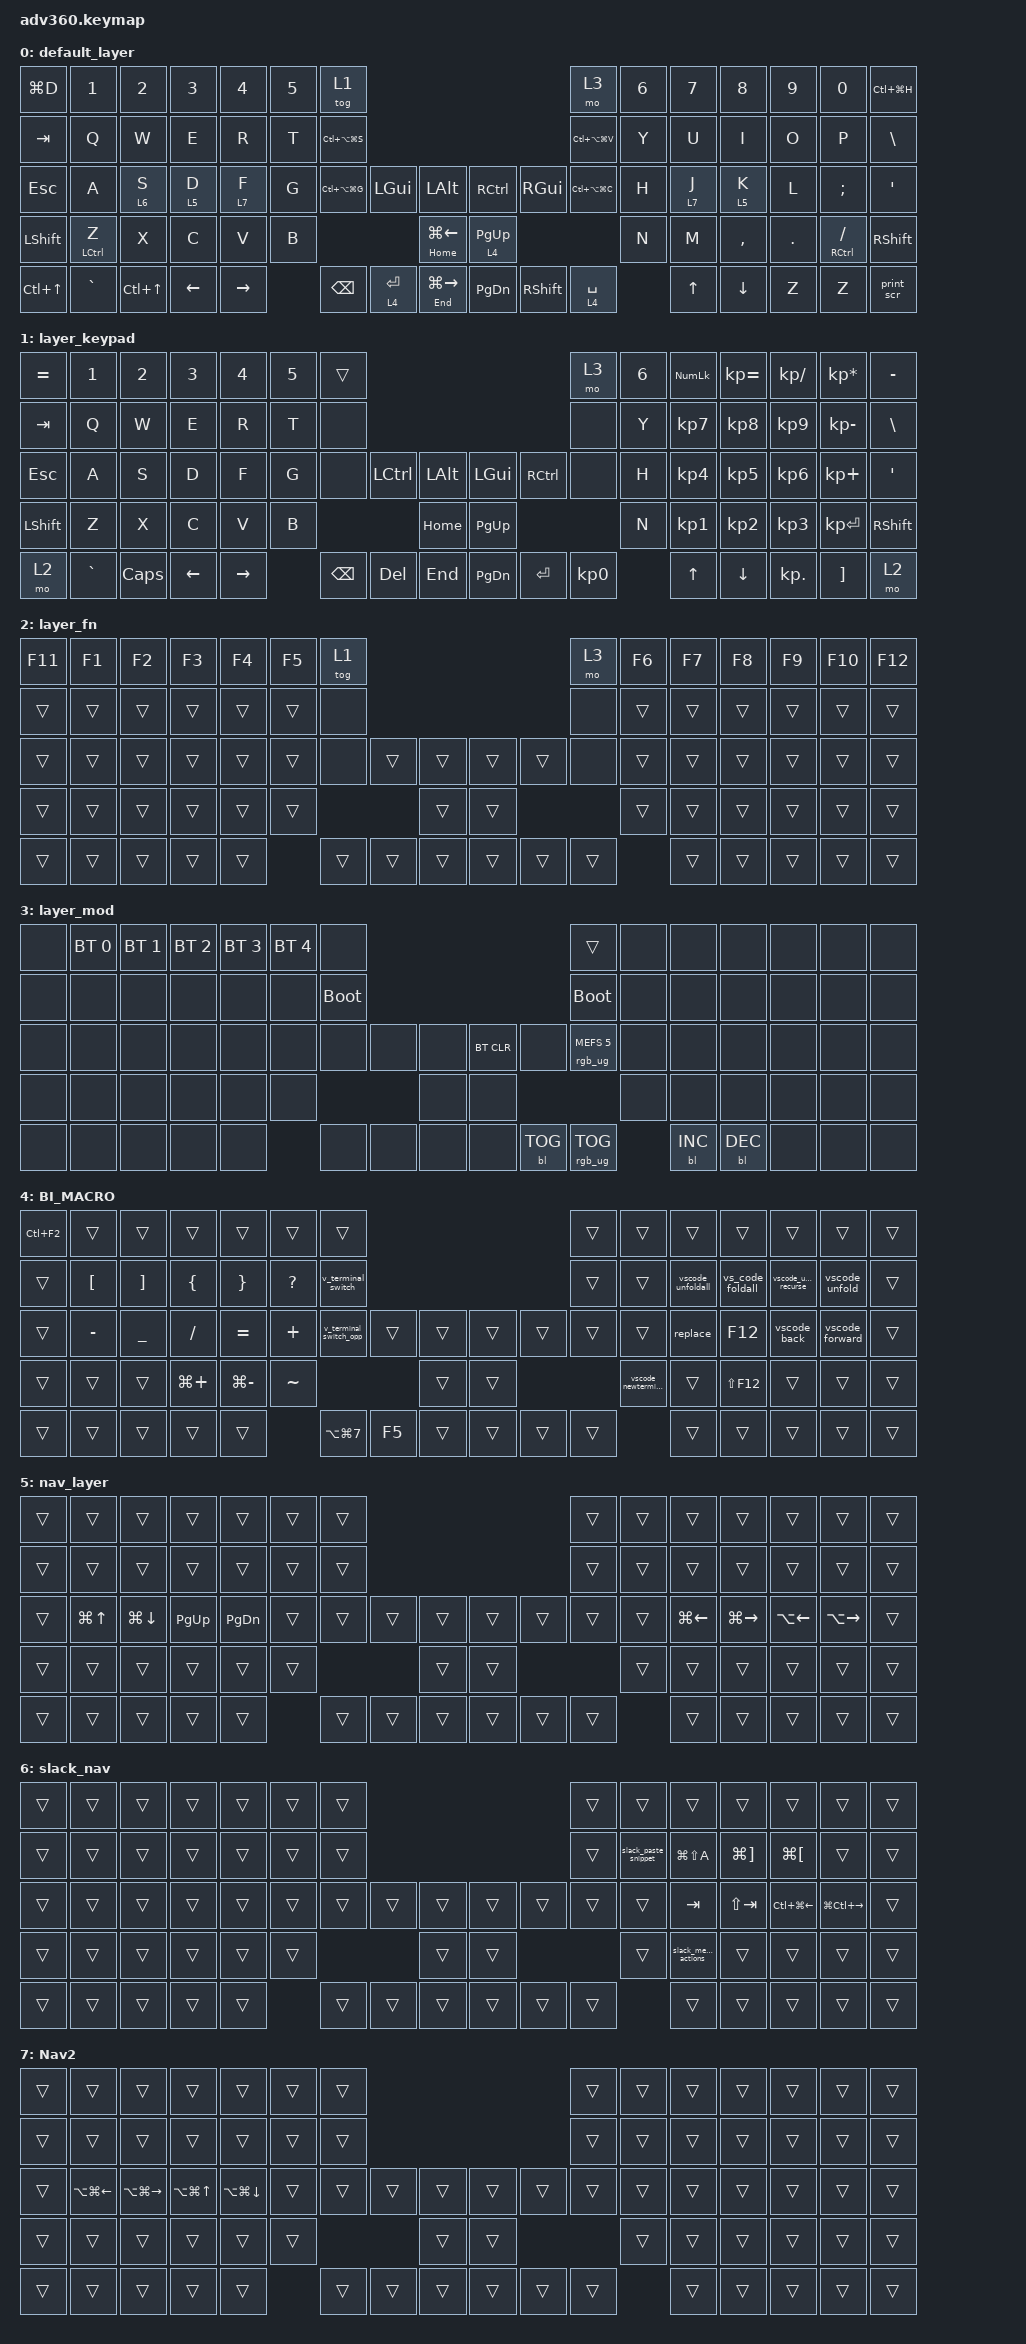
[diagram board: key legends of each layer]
/*
 * Copyright (c) 2020 The ZMK Contributors
 *
 * SPDX-License-Identifier: MIT
 */
/* THIS FILE WAS GENERATED!
 *
 * This file was generated automatically. You may or may not want to
 * edit it directly.
 */

#include <behaviors.dtsi>
#include <dt-bindings/zmk/backlight.h>
#include <dt-bindings/zmk/bt.h>
#include <dt-bindings/zmk/keys.h>
#include <dt-bindings/zmk/rgb.h>

/* BI: Added */

&lt {
    quick-tap-ms = <200>;
    require-prior-idle-ms = <150>;
};

/ {
    behaviors {
        #include "macros.dtsi"
    #include "version.dtsi"

        hm: homerow_mods {
            compatible = "zmk,behavior-hold-tap";
            label = "HOMEROW_MODS";
            #binding-cells = <2>;
            tapping-term-ms = <200>;
            flavor = "tap-preferred";
            bindings = <&kp>, <&kp>;

            require-prior-idle-ms = <150>;
        };
    };

    macros {
        vscode_newterminal: vscode_newterminal {
            compatible = "zmk,behavior-macro";
            #binding-cells = <0>;
            bindings =
                <&macro_press>,
                <&kp LEFT_CONTROL &kp LEFT_SHIFT>,
                <&macro_tap>,
                <&kp GRAVE>,
                <&macro_release>,
                <&kp LEFT_SHIFT &kp LCTRL>;

            label = "VSCODE_NEWTERMINAL";
        };

        slack_paste_snippet: slack_paste_snippet {
            compatible = "zmk,behavior-macro";
            #binding-cells = <0>;
            bindings = <&macro_tap>, <&kp LG(LS(ENTER))>;

            label = "SLACK_PASTE_SNIPPET";
        };

        google_doc_heading: google_doc_heading {
            compatible = "zmk,behavior-macro";
            #binding-cells = <0>;
            bindings =
                <&macro_press>,
                <&kp LGUI &kp LALT>,
                <&macro_tap>,
                <&kp NUMBER_2>,
                <&macro_release>,
                <&kp LCMD &kp LALT>;

            label = "GOOGLE_DOC_HEADING";
        };

        vs_code_foldall: vs_code_foldall {
            compatible = "zmk,behavior-macro";
            #binding-cells = <0>;
            bindings = <&macro_tap>, <&kp LG(K) &kp LG(N0)>;

            label = "VS_CODE_FOLDALL";
        };

        vscode_unfold: vscode_unfold {
            compatible = "zmk,behavior-macro";
            #binding-cells = <0>;
            bindings =
                <&macro_press>,
                <&kp LEFT_ALT &kp LGUI>,
                <&macro_tap>,
                <&kp RIGHT_BRACKET>,
                <&macro_release>,
                <&kp LEFT_ALT &kp LGUI>;

            label = "VSCODE_UNFOLD";
        };

        vscode_last_edit: vscode_last_edit {
            compatible = "zmk,behavior-macro";
            #binding-cells = <0>;
            bindings = <&macro_tap>, <&kp LG(K) &kp LG(Q)>;

            label = "VSCODE_LAST_EDIT";
        };

        vscode_unfold_recurse: vscode_unfold_recurse {
            compatible = "zmk,behavior-macro";
            #binding-cells = <0>;
            bindings = <&macro_tap>, <&kp LG(K) &kp LG(RIGHT_BRACKET)>;

            label = "VSCODE_UNFOLD_RECURSE";
        };

        vscode_unfoldall: vscode_unfoldall {
            compatible = "zmk,behavior-macro";
            #binding-cells = <0>;
            bindings = <&macro_tap>, <&kp LG(K) &kp LG(J)>;

            label = "VSCODE_UNFOLDALL";
        };

        print_scr: print_scr {
            compatible = "zmk,behavior-macro";
            #binding-cells = <0>;
            bindings =
                <&macro_press>,
                <&kp LSHFT &kp LGUI>,
                <&macro_tap>,
                <&kp NUMBER_4>,
                <&macro_release>,
                <&kp LSHIFT &kp LGUI>;

            label = "PRINT_SCR";
        };

        refactor: refactor {
            compatible = "zmk,behavior-macro";
            #binding-cells = <0>;
            bindings =
                <&macro_press>,
                <&kp LC(LEFT_SHIFT)>,
                <&macro_tap>,
                <&kp R>,
                <&macro_release>,
                <&kp LC(LSHFT)>;

            label = "REFACTOR";
        };

        replace: replace {
            compatible = "zmk,behavior-macro";
            #binding-cells = <0>;
            bindings =
                <&macro_press>,
                <&kp LG(LEFT_ALT)>,
                <&macro_tap>,
                <&kp F>,
                <&macro_release>,
                <&kp LG(LEFT_ALT)>;

            label = "REPLACE";
        };

        restart: restart {
            compatible = "zmk,behavior-macro";
            #binding-cells = <0>;
            bindings =
                <&macro_press>,
                <&kp RS(LEFT_COMMAND)>,
                <&macro_tap>,
                <&kp F5>,
                <&macro_release>,
                <&kp RS(LEFT_GUI)>;

            label = "RESTART";
        };

        vscode_zoom: vscode_zoom {
            compatible = "zmk,behavior-macro";
            #binding-cells = <0>;
            bindings = <&macro_tap>, <&kp LG(KP_EQUAL)>;

            label = "VSCODE_ZOOM";
        };

        vscode_zoom_out: vscode_zoom_out {
            compatible = "zmk,behavior-macro";
            #binding-cells = <0>;
            bindings = <&macro_tap>, <&kp LG(KP_MINUS)>;

            label = "VSCODE_ZOOM_OUT";
        };

        v_terminal_switch: v_terminal_switch {
            compatible = "zmk,behavior-macro";
            #binding-cells = <0>;
            bindings = <&macro_tap>, <&kp LS(LG(LEFT_BRACKET))>;

            label = "V_TERMINAL_SWITCH";
        };

        v_terminal_switch_opp: v_terminal_switch_opp {
            compatible = "zmk,behavior-macro";
            #binding-cells = <0>;
            bindings = <&macro_tap>, <&kp LS(LG(RIGHT_BRACKET))>;

            label = "V_TERMINAL_SWITCH_OPP";
        };

        vscode_back: vscode_back {
            compatible = "zmk,behavior-macro";
            #binding-cells = <0>;
            bindings = <&macro_tap>, <&kp LC(MINUS)>;

            label = "VSCODE_BACK";
        };

        vscode_forward: vscode_forward {
            compatible = "zmk,behavior-macro";
            #binding-cells = <0>;
            bindings = <&macro_tap>, <&kp LC(LS(MINUS))>;

            label = "VSCODE_FORWARD";
        };

        vscode_debug_test: vscode_debug_test {
            compatible = "zmk,behavior-macro";
            #binding-cells = <0>;
            bindings = <&macro_tap>, <&kp LG(SEMICOLON) &kp LG(C)>;

            label = "VSCODE_DEBUG_TEST";
        };

        zoomunmute: zoomunmute {
            compatible = "zmk,behavior-macro";
            #binding-cells = <0>;
            bindings = <&macro_tap>, <&kp LS(LG(A))>;

            label = "ZOOMUNMUTE";
        };

        slack_message_actions: slack_message_actions {
            compatible = "zmk,behavior-macro";
            #binding-cells = <0>;
            bindings = <&macro_tap>, <&kp TAB &kp TAB>;

            label = "SLACK_MESSAGE_ACTIONS";
        };
    };

    combos { compatible = "zmk,combos"; };

    keymap {
        compatible = "zmk,keymap";

        default_layer {
            bindings = <
&kp LG(D)         &kp N1       &kp N2            &kp N3    &kp N4     &kp N5  &tog 1                                                                                &mo 3              &kp N6  &kp N7   &kp N8     &kp N9   &kp N0          &kp LC(LG(H))
&kp TAB           &kp Q        &kp W             &kp E     &kp R      &kp T   &kp LC(LA(LG(S)))                                                                      &kp LC(LA(LG(V)))  &kp Y   &kp U    &kp I      &kp O    &kp P           &kp BSLH
&kp ESC           &kp A        &lt 6 S           &lt 5 D   &lt 7 F    &kp G   &kp LC(LA(LG(G)))             &kp LGUI     &kp LALT               &kp RCTRL      &kp RGUI         &kp LC(LA(LG(C)))              &kp H   &lt 7 J  &lt 5 K    &kp L    &kp SEMI        &kp SQT
&kp LSHFT         &hm LCTRL Z  &kp X             &kp C     &kp V      &kp B                                  &mt HOME LG(LEFT)      &lt 4 PAGE_UP                                      &kp N   &kp M    &kp COMMA  &kp DOT  &hm RCTRL FSLH  &kp RIGHT_SHIFT
&kp LC(UP_ARROW)  &kp GRAVE    &kp LC(UP_ARROW)  &kp LEFT  &kp RIGHT          &kp BSPC          &lt 4 ENTER  &mt END LG(RIGHT)      &kp PG_DN      &kp RIGHT_SHIFT  &lt 4 SPACE                &kp UP   &kp DOWN   &kp Z    &kp Z           &print_scr
            >;
        };

        layer_keypad {
            bindings = <
&kp EQUAL  &kp N1     &kp N2    &kp N3    &kp N4     &kp N5  &trans                                                   &mo 3      &kp N6  &kp KP_NUM  &kp KP_EQUAL  &kp KP_DIVIDE  &kp KP_MULTIPLY  &kp MINUS
&kp TAB    &kp Q      &kp W     &kp E     &kp R      &kp T   &none                                                    &none      &kp Y   &kp KP_N7   &kp KP_N8     &kp KP_N9      &kp KP_MINUS     &kp BSLH
&kp ESC    &kp A      &kp S     &kp D     &kp F      &kp G   &none     &kp LCTRL  &kp LALT      &kp LGUI   &kp RCTRL  &none      &kp H   &kp KP_N4   &kp KP_N5     &kp KP_N6      &kp KP_PLUS      &kp SQT
&kp LSHFT  &kp Z      &kp X     &kp C     &kp V      &kp B                        &kp HOME      &kp PG_UP                        &kp N   &kp KP_N1   &kp KP_N2     &kp KP_N3      &kp KP_ENTER     &kp RSHFT
&mo 2      &kp GRAVE  &kp CAPS  &kp LEFT  &kp RIGHT          &kp BSPC  &kp DEL    &kp END       &kp PG_DN  &kp ENTER  &kp KP_N0          &kp UP      &kp DOWN      &kp KP_DOT     &kp RBKT         &mo 2
            >;
        };

        layer_fn {
            bindings = <
&kp F11  &kp F1  &kp F2  &kp F3  &kp F4  &kp F5  &tog 1                                      &mo 3   &kp F6  &kp F7  &kp F8  &kp F9  &kp F10  &kp F12
&trans   &trans  &trans  &trans  &trans  &trans  &none                                       &none   &trans  &trans  &trans  &trans  &trans   &trans
&trans   &trans  &trans  &trans  &trans  &trans  &none   &trans  &trans      &trans  &trans  &none   &trans  &trans  &trans  &trans  &trans   &trans
&trans   &trans  &trans  &trans  &trans  &trans                  &trans      &trans                  &trans  &trans  &trans  &trans  &trans   &trans
&trans   &trans  &trans  &trans  &trans          &trans  &trans  &trans      &trans  &trans  &trans          &trans  &trans  &trans  &trans   &trans
            >;
        };

        layer_mod {
            bindings = <
&none  &bt BT_SEL 0  &bt BT_SEL 1  &bt BT_SEL 2  &bt BT_SEL 3  &bt BT_SEL 4  &none                                                  &trans                  &none  &none       &none       &none  &none  &none
&none  &none         &none         &none         &none         &none         &bootloader                                            &bootloader             &none  &none       &none       &none  &none  &none
&none  &none         &none         &none         &none         &none         &none        &none  &none      &bt BT_CLR  &none       &rgb_ug RGB_MEFS_CMD 5  &none  &none       &none       &none  &none  &none
&none  &none         &none         &none         &none         &none                             &none      &none                                           &none  &none       &none       &none  &none  &none
&none  &none         &none         &none         &none                       &none        &none  &none      &none       &bl BL_TOG  &rgb_ug RGB_TOG                &bl BL_INC  &bl BL_DEC  &none  &none  &none
            >;
        };

        BI_MACRO {
            bindings = <
&kp LC(F2)  &trans            &trans             &trans          &trans           &trans        &trans                                                      &trans  &trans               &trans             &trans            &trans                  &trans           &trans
&trans      &kp LEFT_BRACKET  &kp RIGHT_BRACKET  &kp LEFT_BRACE  &kp RIGHT_BRACE  &kp QUESTION  &v_terminal_switch                                          &trans  &trans               &vscode_unfoldall  &vs_code_foldall  &vscode_unfold_recurse  &vscode_unfold   &trans
&trans      &kp MINUS         &kp UNDER          &kp SLASH       &kp EQUAL        &kp PLUS      &v_terminal_switch_opp  &trans  &trans      &trans  &trans  &trans  &trans               &replace           &kp F12           &vscode_back            &vscode_forward  &trans
&trans      &trans            &trans             &kp LG(PLUS)    &kp LG(MINUS)    &kp TILDE                                     &trans      &trans                  &vscode_newterminal  &trans             &kp LS(F12)       &trans                  &trans           &trans
&trans      &trans            &trans             &trans          &trans                         &kp LA(LG(N7))          &kp F5  &trans      &trans  &trans  &trans                       &trans             &trans            &trans                  &trans           &trans
            >;
        };

        nav_layer {
            bindings = <
&trans  &trans            &trans              &trans       &trans         &trans  &trans                                      &trans  &trans  &trans              &trans         &trans        &trans         &trans
&trans  &trans            &trans              &trans       &trans         &trans  &trans                                      &trans  &trans  &trans              &trans         &trans        &trans         &trans
&trans  &kp LG(UP_ARROW)  &kp LG(DOWN_ARROW)  &kp PAGE_UP  &kp PAGE_DOWN  &trans  &trans  &trans  &trans      &trans  &trans  &trans  &trans  &kp LG(LEFT_ARROW)  &kp LG(RIGHT)  &kp LA(LEFT)  &kp LA(RIGHT)  &trans
&trans  &trans            &trans              &trans       &trans         &trans                  &trans      &trans                  &trans  &trans              &trans         &trans        &trans         &trans
&trans  &trans            &trans              &trans       &trans                 &trans  &trans  &trans      &trans  &trans  &trans          &trans              &trans         &trans        &trans         &trans
            >;
        };

        slack_nav {
            bindings = <
&trans  &trans  &trans  &trans  &trans  &trans  &trans                                      &trans  &trans                &trans                  &trans                 &trans                &trans             &trans
&trans  &trans  &trans  &trans  &trans  &trans  &trans                                      &trans  &slack_paste_snippet  &kp LG(LS(A))           &kp LG(RIGHT_BRACKET)  &kp LG(LEFT_BRACKET)  &trans             &trans
&trans  &trans  &trans  &trans  &trans  &trans  &trans  &trans  &trans      &trans  &trans  &trans  &trans                &kp TAB                 &kp LS(TAB)            &kp LC(LG(LEFT))      &kp LG(LC(RIGHT))  &trans
&trans  &trans  &trans  &trans  &trans  &trans                  &trans      &trans                  &trans                &slack_message_actions  &trans                 &trans                &trans             &trans
&trans  &trans  &trans  &trans  &trans          &trans  &trans  &trans      &trans  &trans  &trans                        &trans                  &trans                 &trans                &trans             &trans
            >;
        };

        Nav2 {
            bindings = <
&trans  &trans     &trans         &trans            &trans            &trans  &trans                                      &trans  &trans  &trans       &trans                   &trans                   &trans                   &trans
&trans  &trans     &trans         &trans            &trans            &trans  &trans                                      &trans  &trans  &trans       &trans                   &trans                   &trans                   &trans
&trans  &kp LA(LG(LEFT))  &kp LA(LG(RIGHT))  &kp LA(LG(UP))  &kp LA(LG(DOWN))  &trans  &trans  &trans  &trans      &trans  &trans  &trans  &trans  &trans  &trans  &trans  &trans  &trans
&trans  &trans     &trans         &trans            &trans            &trans                  &trans      &trans                  &trans  &trans       &trans                   &trans                   &trans                   &trans
&trans  &trans     &trans         &trans            &trans                    &trans  &trans  &trans      &trans  &trans  &trans          &trans       &trans                   &trans                   &trans                   &trans
            >;
        };
    };
};
